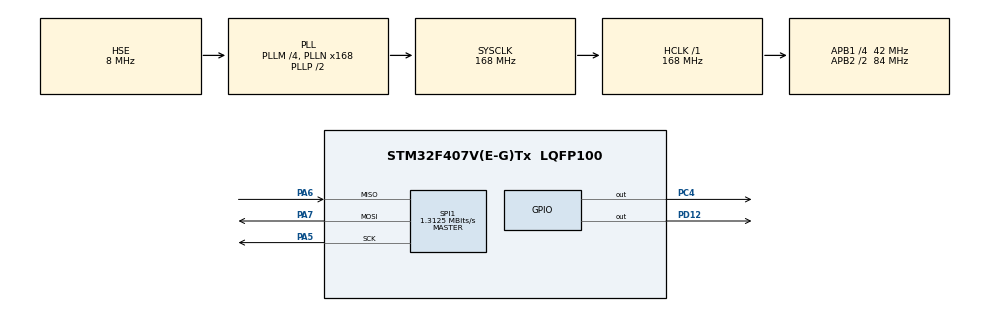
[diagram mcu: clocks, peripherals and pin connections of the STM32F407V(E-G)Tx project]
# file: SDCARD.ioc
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FATFS._MAX_SS=4096
FATFS._USE_LFN=1
Mcu.Family=STM32F4
Mcu.Name=STM32F407V(E-G)Tx
Mcu.Package=LQFP100
NVIC.PriorityGroup=NVIC_PRIORITYGROUP_4
PA5.Mode=Full_Duplex_Master
PA5.Signal=SPI1_SCK
PA6.Mode=Full_Duplex_Master
PA6.Signal=SPI1_MISO
PA7.Mode=Full_Duplex_Master
PA7.Signal=SPI1_MOSI
PC4.Signal=GPIO_Output
PD12.Signal=GPIO_Output
PH0-OSC_IN.Mode=HSE-External-Oscillator
PH0-OSC_IN.Signal=RCC_OSC_IN
PH1-OSC_OUT.Mode=HSE-External-Oscillator
PH1-OSC_OUT.Signal=RCC_OSC_OUT
ProjectManager.HeapSize=0x200
ProjectManager.StackSize=0x400
ProjectManager.TargetToolchain=STM32CubeIDE
RCC.48MHZClocksFreq_Value=84000000
RCC.AHBFreq_Value=168000000
RCC.APB1CLKDivider=RCC_HCLK_DIV4
RCC.APB1Freq_Value=42000000
RCC.APB1TimFreq_Value=84000000
RCC.APB2CLKDivider=RCC_HCLK_DIV2
RCC.APB2Freq_Value=84000000
RCC.APB2TimFreq_Value=168000000
RCC.CortexFreq_Value=168000000
RCC.HCLKFreq_Value=168000000
RCC.HSE_VALUE=8000000
RCC.HSI_VALUE=16000000
RCC.LSE_VALUE=32768
RCC.PLLM=4
RCC.PLLN=168
RCC.PLLSourceVirtual=RCC_PLLSOURCE_HSE
RCC.PWREXT_OverDrive=PWREXT_OverDrive_DESACTIVATED
RCC.SYSCLKFreq_VALUE=168000000
RCC.SYSCLKSource=RCC_SYSCLKSOURCE_PLLCLK
RCC.VCOOutputFreq_Value=336000000
SPI1.BaudRatePrescaler=SPI_BAUDRATEPRESCALER_64
SPI1.CalculateBaudRate=1.3125 MBits/s
SPI1.Direction=SPI_DIRECTION_2LINES
SPI1.Mode=SPI_MODE_MASTER
SPI1.VirtualType=VM_MASTER
VP_FATFS_VS_Generic.Mode=User_defined
board=custom

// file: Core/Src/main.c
/* USER CODE BEGIN Header */
/**
  ******************************************************************************
  * @file           : main.c
  * @brief          : Main program body
  ******************************************************************************
  * @attention
  *
  * Copyright (c) 2022 STMicroelectronics.
  * All rights reserved.
  *
  * This software is licensed under terms that can be found in the LICENSE file
  * in the root directory of this software component.
  * If no LICENSE file comes with this software, it is provided AS-IS.
  *
  ******************************************************************************
  */
/* USER CODE END Header */
#include "main.h"
#include "fatfs.h"

/* USER CODE BEGIN Includes */
#include "fatfs_sd.h"
#include "string.h"
/* USER CODE END Includes */

SPI_HandleTypeDef hspi1;

/* USER CODE BEGIN PV */

FATFS fs;
FIL file;
FRESULT fresult;
char buffer[1024];

UINT br,bw;

FATFS *pfs;
DWORD fre_clust;
uint32_t total, free_space;

/* USER CODE END PV */

void SystemClock_Config(void);
static void MX_GPIO_Init(void);
static void MX_SPI1_Init(void);

/* USER CODE BEGIN 0 */
int buffersize(char *buf)
{
	int i = 0;
	while(*buf++ =! '\0')
		i++;
	return i;

}

void bufferclear(void)
{
	for (int i = 0; i < 1024; i++)
	{
		buffer[i] = '\0';
	}
}
/* USER CODE END 0 */

int main(void)
{

  /* MCU Configuration--------------------------------------------------------*/

  /* Reset of all peripherals, Initializes the Flash interface and the Systick. */
  HAL_Init();

  /* Configure the system clock */
  SystemClock_Config();

  /* Initialize all configured peripherals */
  MX_GPIO_Init();
  MX_SPI1_Init();
  MX_FATFS_Init();
  /* USER CODE BEGIN 2 */

  fresult = f_mount(&fs, "", 0);
  f_getfree("", &fre_clust, &pfs);
  total = (uint32_t)((pfs -> n_fatent-2) * pfs->csize-0.5);
  free_space = (uint32_t)(fre_clust * pfs ->csize * 0.5);
  fresult = f_open(&file,"myFirstFile.txt",FA_CREATE_ALWAYS | FA_WRITE | FA_READ);
  f_puts("init basarili\n",&file);

  uint16_t sayac = 0;

  int myInt = 400 ;
  TCHAR string_buffer[20] ; // where you put result

  /* USER CODE END 2 */

  /* Infinite loop */
  while (1)
  {

    /* USER CODE BEGIN 3 */

	  if(sayac == 0)
	  {
		  f_puts("donguye girdi\n",&file);
		  f_sync(&file);

	  }
	  	  sayac++;

	  	  sprintf( string_buffer, "%d\n", sayac ) ;

	  	f_puts(string_buffer,&file);
	  	f_sync(&file);

		  	HAL_Delay(1000);
		  	HAL_GPIO_TogglePin(GPIOD, GPIO_PIN_12);

  }
    	fresult=f_close(&file);
  /* USER CODE END 3 */
}

void SystemClock_Config(void)
{
  RCC_OscInitTypeDef RCC_OscInitStruct = {0};
  RCC_ClkInitTypeDef RCC_ClkInitStruct = {0};

  /** Configure the main internal regulator output voltage
  */
  __HAL_RCC_PWR_CLK_ENABLE();
  __HAL_PWR_VOLTAGESCALING_CONFIG(PWR_REGULATOR_VOLTAGE_SCALE1);
  /** Initializes the RCC Oscillators according to the specified parameters
  * in the RCC_OscInitTypeDef structure.
  */
  RCC_OscInitStruct.OscillatorType = RCC_OSCILLATORTYPE_HSE;
  RCC_OscInitStruct.HSEState = RCC_HSE_ON;
  RCC_OscInitStruct.PLL.PLLState = RCC_PLL_ON;
  RCC_OscInitStruct.PLL.PLLSource = RCC_PLLSOURCE_HSE;
  RCC_OscInitStruct.PLL.PLLM = 4;
  RCC_OscInitStruct.PLL.PLLN = 168;
  RCC_OscInitStruct.PLL.PLLP = RCC_PLLP_DIV2;
  RCC_OscInitStruct.PLL.PLLQ = 4;
  if (HAL_RCC_OscConfig(&RCC_OscInitStruct) != HAL_OK)
  {
    Error_Handler();
  }
  /** Initializes the CPU, AHB and APB buses clocks
  */
  RCC_ClkInitStruct.ClockType = RCC_CLOCKTYPE_HCLK|RCC_CLOCKTYPE_SYSCLK
                              |RCC_CLOCKTYPE_PCLK1|RCC_CLOCKTYPE_PCLK2;
  RCC_ClkInitStruct.SYSCLKSource = RCC_SYSCLKSOURCE_PLLCLK;
  RCC_ClkInitStruct.AHBCLKDivider = RCC_SYSCLK_DIV1;
  RCC_ClkInitStruct.APB1CLKDivider = RCC_HCLK_DIV4;
  RCC_ClkInitStruct.APB2CLKDivider = RCC_HCLK_DIV2;

  if (HAL_RCC_ClockConfig(&RCC_ClkInitStruct, FLASH_LATENCY_5) != HAL_OK)
  {
    Error_Handler();
  }
}

static void MX_SPI1_Init(void)
{

  /* SPI1 parameter configuration*/
  hspi1.Instance = SPI1;
  hspi1.Init.Mode = SPI_MODE_MASTER;
  hspi1.Init.Direction = SPI_DIRECTION_2LINES;
  hspi1.Init.DataSize = SPI_DATASIZE_8BIT;
  hspi1.Init.CLKPolarity = SPI_POLARITY_LOW;
  hspi1.Init.CLKPhase = SPI_PHASE_1EDGE;
  hspi1.Init.NSS = SPI_NSS_SOFT;
  hspi1.Init.BaudRatePrescaler = SPI_BAUDRATEPRESCALER_64;
  hspi1.Init.FirstBit = SPI_FIRSTBIT_MSB;
  hspi1.Init.TIMode = SPI_TIMODE_DISABLE;
  hspi1.Init.CRCCalculation = SPI_CRCCALCULATION_DISABLE;
  hspi1.Init.CRCPolynomial = 10;
  if (HAL_SPI_Init(&hspi1) != HAL_OK)
  {
    Error_Handler();
  }

}

static void MX_GPIO_Init(void)
{
  GPIO_InitTypeDef GPIO_InitStruct = {0};

  /* GPIO Ports Clock Enable */
  __HAL_RCC_GPIOH_CLK_ENABLE();
  __HAL_RCC_GPIOA_CLK_ENABLE();
  __HAL_RCC_GPIOC_CLK_ENABLE();
  __HAL_RCC_GPIOD_CLK_ENABLE();

  /*Configure GPIO pin Output Level */
	HAL_GPIO_WritePin(GPIOC, GPIO_PIN_4, GPIO_PIN_RESET);

  /*Configure GPIO pin Output Level */
  HAL_GPIO_WritePin(GPIOD, GPIO_PIN_12, GPIO_PIN_RESET);

  /*Configure GPIO pin : PC4 */
  GPIO_InitStruct.Pin = GPIO_PIN_4;
  GPIO_InitStruct.Mode = GPIO_MODE_OUTPUT_PP;
  GPIO_InitStruct.Pull = GPIO_NOPULL;
  GPIO_InitStruct.Speed = GPIO_SPEED_FREQ_LOW;
  HAL_GPIO_Init(GPIOC, &GPIO_InitStruct);

  /*Configure GPIO pin : PD12 */
  GPIO_InitStruct.Pin = GPIO_PIN_12;
  GPIO_InitStruct.Mode = GPIO_MODE_OUTPUT_PP;
  GPIO_InitStruct.Pull = GPIO_NOPULL;
  GPIO_InitStruct.Speed = GPIO_SPEED_FREQ_LOW;
  HAL_GPIO_Init(GPIOD, &GPIO_InitStruct);

}

void Error_Handler(void)
{
  __disable_irq();
  while (1)
  {
  }
}
